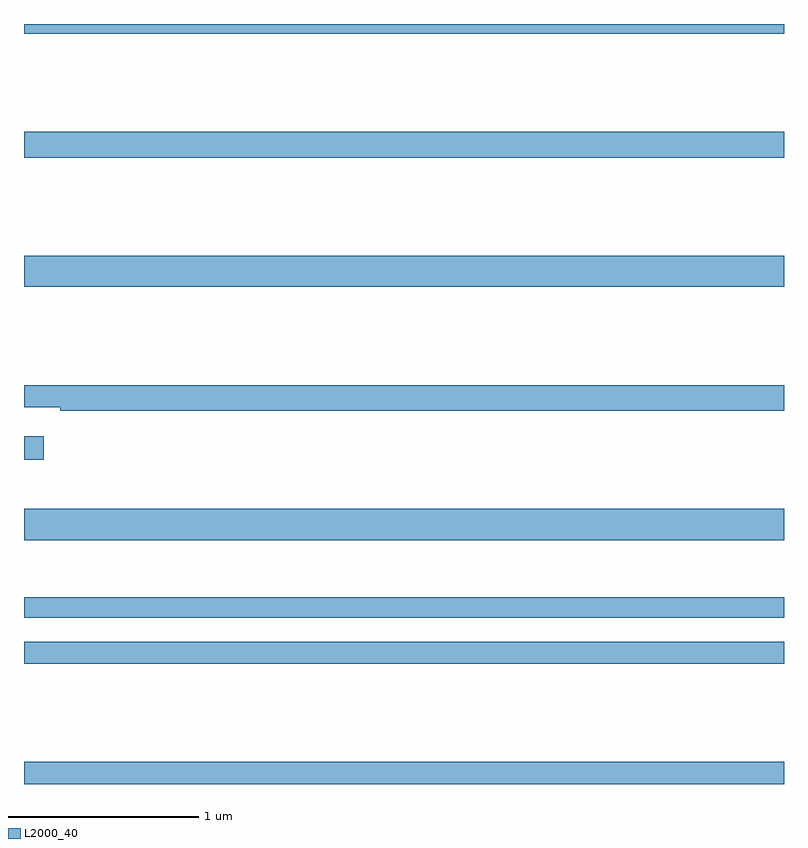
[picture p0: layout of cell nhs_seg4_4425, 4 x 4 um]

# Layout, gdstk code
import gdstk
lib = gdstk.Library(unit=1e-6, precision=1e-09)
def R(c, l, rs):  # rectangles x0, y0, x1, y1
    for r in rs: c.add(gdstk.rectangle(r[:2], r[2:], *l))
def P(c, l, *ps):  # polygons
    for p in ps: c.add(gdstk.Polygon(p, *l))
L2000_40 = (2000, 40)

nhs_seg4_4425 = lib.new_cell('nhs_seg4_4425')
R(nhs_seg4_4425, L2000_40, [(349,764.9,353,765.016), (349,765.532,353,765.648), (349,765.774,353,765.883), (349,766.184,353,766.348), (349,766.607,349.105,766.729), (349,767.516,353,767.68), (349,768.196,353,768.332), (349,768.848,353,768.9)])
P(nhs_seg4_4425, L2000_40, [(353,767),(349,767),(349,766.883),(349.192,766.883),(349.192,766.864),(353,766.864)])

lib.write_gds('nhs_seg4_4425.gds')
